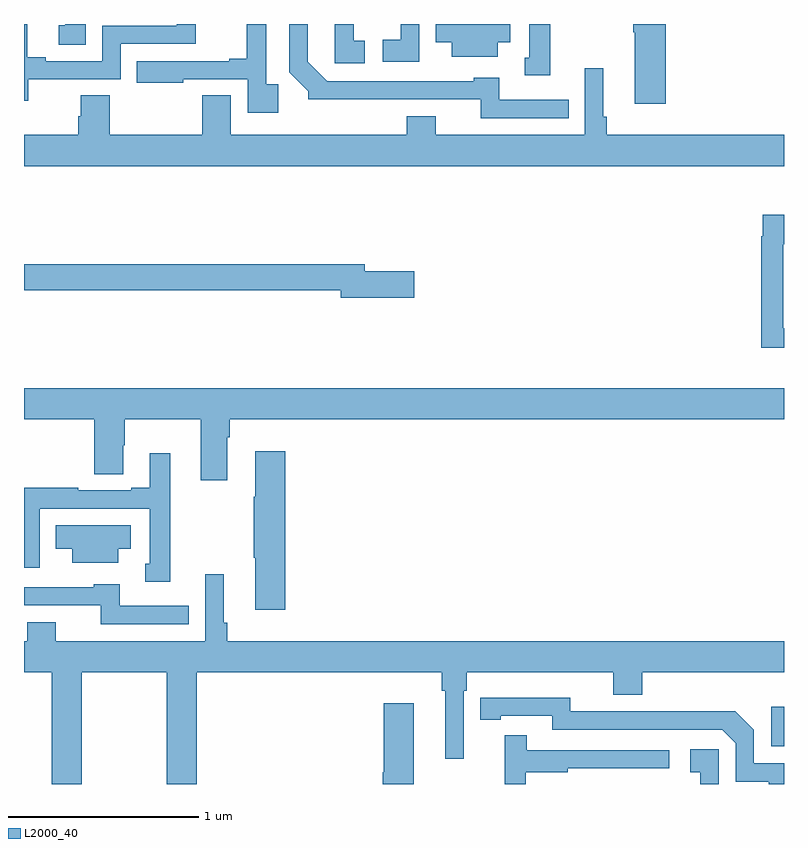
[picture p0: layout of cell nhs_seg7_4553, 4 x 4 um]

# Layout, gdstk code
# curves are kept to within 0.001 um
import gdstk
lib = gdstk.Library(unit=1e-6, precision=1e-09)
def R(c, l, rs):  # rectangles x0, y0, x1, y1
    for r in rs: c.add(gdstk.rectangle(r[:2], r[2:], *l))
def P(c, l, *ps):  # polygons
    for p in ps: c.add(gdstk.Polygon(p, *l))
L2000_40 = (2000, 40)

nhs_seg7_4553 = lib.new_cell('nhs_seg7_4553')
R(nhs_seg7_4553, L2000_40, [(400.932,1028.199,401,1028.407)])
P(nhs_seg7_4553, L2000_40, [(400.378,1032),(400.207,1032),(400.207,1031.957),(400.214,1031.957),(400.214,1031.58),(400.378,1031.58)],
  [(398.339,1031.683),(398.274,1031.683),(398.274,1032),(398.173,1032),(398.173,1031.818),(398.081,1031.818),(398.081,1031.805),(397.594,1031.805),(397.594,1031.69),(397.837,1031.69),(397.837,1031.709),(398.178,1031.709),(398.178,1031.532),(398.339,1031.532)],
  [(398.794,1031.913),(398.736,1031.913),(398.736,1032),(398.636,1032),(398.636,1031.793),(398.794,1031.793)],
  [(399.493,1031.903),(399.559,1031.903),(399.559,1032),(399.166,1032),(399.166,1031.903),(399.251,1031.903),(399.251,1031.828),(399.493,1031.828)],
  [(399.081,1032),(398.983,1032),(398.983,1031.918),(398.889,1031.918),(398.889,1031.802),(399.081,1031.802)],
  [(397.324,1032),(397.217,1032),(397.217,1031.994),(397.184,1031.994),(397.184,1031.89),(397.324,1031.89)],
  [(399.769,1032),(399.66,1032),(399.66,1031.823),(399.635,1031.823),(399.635,1031.729),(399.769,1031.729)],
  [(399.866,1031.601),(399.502,1031.601),(399.502,1031.716),(399.366,1031.716),(399.366,1031.7),(398.595,1031.7),(398.494,1031.801),(398.494,1032),(398.397,1032),(398.397,1031.746),(398.496,1031.647),(398.496,1031.603),(399.403,1031.604),(399.403,1031.505),(399.866,1031.505)],
  [(397.022,1031.709),(397.509,1031.709),(397.509,1031.895),(397.904,1031.895),(397.904,1032),(397.803,1032),(397.803,1031.991),(397.413,1031.991),(397.413,1031.805),(397.114,1031.805),(397.114,1031.825),(397.018,1031.825),(397.018,1032),(397,1032),(397,1031.595),(397.022,1031.595)],
  [(401,1031.416),(400.067,1031.416),(400.067,1031.512),(400.048,1031.512),(400.048,1031.767),(399.951,1031.767),(399.951,1031.416),(399.166,1031.416),(399.166,1031.515),(399.014,1031.515),(399.014,1031.416),(398.089,1031.416),(398.089,1031.624),(397.937,1031.624),(397.937,1031.416),(397.451,1031.416),(397.451,1031.624),(397.298,1031.624),(397.298,1031.514),(397.286,1031.514),(397.286,1031.416),(397,1031.416),(397,1031.252),(401,1031.252)],
  [(401,1030.398),(400.995,1030.398),(400.995,1030.84),(401,1030.84),(401,1030.996),(400.887,1030.996),(400.887,1030.883),(400.879,1030.883),(400.879,1030.295),(401,1030.295)],
  [(399.055,1030.7),(398.794,1030.7),(398.794,1030.736),(397,1030.736),(397,1030.6),(398.666,1030.6),(398.666,1030.558),(399.055,1030.558)],
  [(398.071,1029.824),(398.084,1029.824),(398.084,1029.92),(401,1029.92),(401,1030.084),(397,1030.084),(397,1029.92),(397.37,1029.92),(397.37,1029.631),(397.522,1029.631),(397.522,1029.782),(397.53,1029.782),(397.53,1029.92),(397.931,1029.92),(397.931,1029.6),(398.071,1029.6)],
  [(398.375,1029.751),(398.216,1029.751),(398.216,1029.512),(398.209,1029.512),(398.209,1029.19),(398.216,1029.19),(398.216,1028.916),(398.375,1028.916)],
  [(397.771,1029.742),(397.661,1029.742),(397.661,1029.559),(397.565,1029.559),(397.565,1029.546),(397.286,1029.546),(397.286,1029.559),(397,1029.559),(397,1029.138),(397.083,1029.138),(397.083,1029.45),(397.662,1029.45),(397.662,1029.159),(397.637,1029.159),(397.637,1029.065),(397.771,1029.065)],
  [(397.495,1029.239),(397.561,1029.239),(397.561,1029.361),(397.168,1029.361),(397.168,1029.239),(397.253,1029.239),(397.253,1029.164),(397.495,1029.164)],
  [(397.305,1028.588),(397.75,1028.588),(397.75,1028),(397.91,1028),(397.91,1028.588),(399.199,1028.588),(399.199,1028.492),(399.218,1028.492),(399.218,1028.132),(399.315,1028.132),(399.315,1028.492),(399.329,1028.492),(399.329,1028.588),(400.1,1028.588),(400.1,1028.471),(400.253,1028.471),(400.253,1028.588),(401,1028.588),(401,1028.752),(398.069,1028.752),(398.069,1028.848),(398.05,1028.848),(398.05,1029.103),(397.953,1029.103),(397.953,1028.752),(397.168,1028.752),(397.168,1028.851),(397.016,1028.851),(397.016,1028.752),(397,1028.752),(397,1028.588),(397.145,1028.588),(397.145,1028),(397.305,1028)],
  [(397.868,1028.937),(397.504,1028.937),(397.504,1029.052),(397.368,1029.052),(397.368,1029.036),(397,1029.036),(397,1028.94),(397.405,1028.94),(397.405,1028.841),(397.868,1028.841)],
  [(401,1028.109),(400.842,1028.109),(400.842,1028.286),(400.744,1028.384),(400.336,1028.384),(400.336,1028.382),(399.876,1028.382),(399.876,1028.455),(399.4,1028.454),(399.4,1028.338),(399.508,1028.338),(399.508,1028.358),(399.78,1028.358),(399.78,1028.286),(400.674,1028.286),(400.746,1028.214),(400.746,1028.013),(400.919,1028.013),(400.919,1028),(401,1028)],
  [(399.052,1028.425),(398.894,1028.425),(398.894,1028.061),(398.888,1028.061),(398.888,1028),(399.052,1028)],
  [(399.64,1028.062),(399.863,1028.062),(399.863,1028.082),(400.396,1028.082),(400.396,1028.178),(399.647,1028.178),(399.647,1028.257),(399.53,1028.257),(399.53,1028),(399.64,1028)],
  [(400.656,1028.182),(400.506,1028.182),(400.506,1028.061),(400.559,1028.061),(400.559,1028),(400.656,1028)])

lib.write_gds('nhs_seg7_4553.gds')
